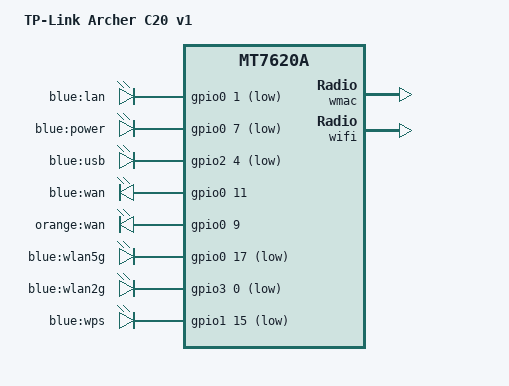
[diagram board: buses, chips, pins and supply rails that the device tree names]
#include "mt7620a_tplink_archer.dtsi"

/ {
	compatible = "tplink,archer-c20-v1", "ralink,mt7620a-soc";
	model = "TP-Link Archer C20 v1";

	aliases {
		led-boot = &led_power;
		led-failsafe = &led_power;
		led-running = &led_power;
		led-upgrade = &led_power;
	};

	leds {
		compatible = "gpio-leds";

		lan {
			label = "blue:lan";
			gpios = <&gpio0 1 GPIO_ACTIVE_LOW>;
		};

		led_power: power {
			label = "blue:power";
			gpios = <&gpio0 7 GPIO_ACTIVE_LOW>;
			default-state = "keep";
		};

		usb {
			label = "blue:usb";
			gpios = <&gpio2 4 GPIO_ACTIVE_LOW>;
			trigger-sources = <&ohci_port1>, <&ehci_port1>;
			linux,default-trigger = "usbport";
		};

		wan {
			label = "blue:wan";
			gpios = <&gpio0 11 GPIO_ACTIVE_HIGH>;
		};

		wan_orange {
			label = "orange:wan";
			gpios = <&gpio0 9 GPIO_ACTIVE_HIGH>;
		};

		wlan5g {
			label = "blue:wlan5g";
			gpios = <&gpio0 17 GPIO_ACTIVE_LOW>;
			linux,default-trigger = "phy0tpt";
		};

		wlan2g {
			label = "blue:wlan2g";
			gpios = <&gpio3 0 GPIO_ACTIVE_LOW>;
			linux,default-trigger = "phy1tpt";
		};

		wps {
			label = "blue:wps";
			gpios = <&gpio1 15 GPIO_ACTIVE_LOW>;
		};
	};
};

&state_default {
	gpio {
		groups = "i2c", "uartf", "wled", "ephy", "spi refclk", "wdt";
		function = "gpio";
	};
};

&wmac {
	pinctrl-names = "default";
	pinctrl-0 = <&pa_pins>;

	mtd-mac-address = <&rom 0xf100>;
	mtd-mac-address-increment = <(-2)>;
};

&wifi {
	mtd-mac-address = <&rom 0xf100>;
	mtd-mac-address-increment = <(-1)>;
};
